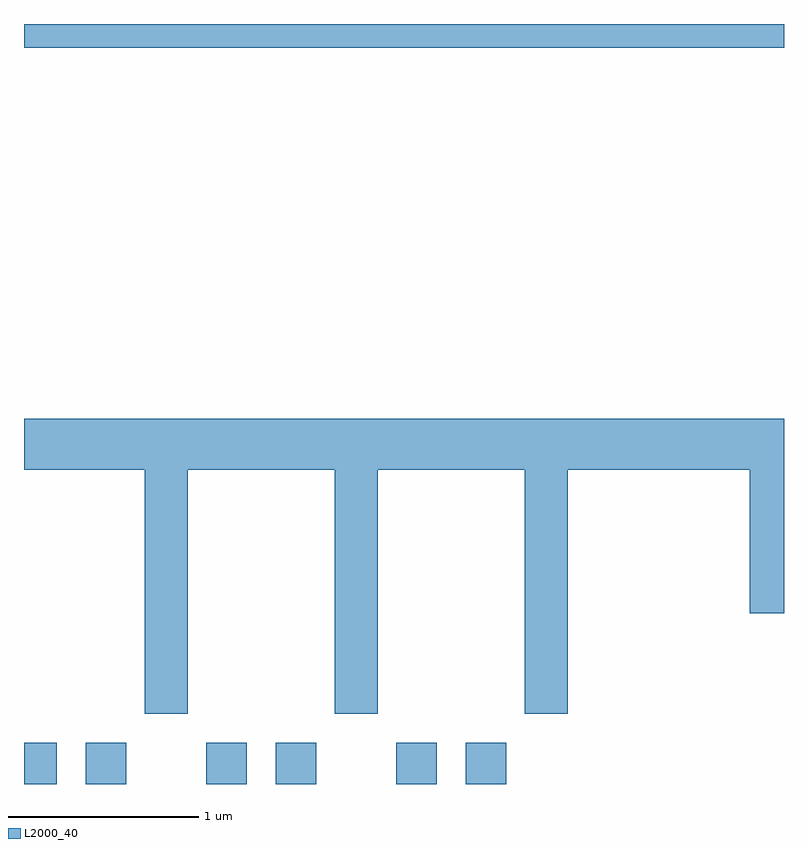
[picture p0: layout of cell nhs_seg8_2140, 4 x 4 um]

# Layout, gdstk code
import gdstk
lib = gdstk.Library(unit=1e-6, precision=1e-09)
def R(c, l, rs):  # rectangles x0, y0, x1, y1
    for r in rs: c.add(gdstk.rectangle(r[:2], r[2:], *l))
def P(c, l, *ps):  # polygons
    for p in ps: c.add(gdstk.Polygon(p, *l))
L2000_40 = (2000, 40)

nhs_seg8_2140 = lib.new_cell('nhs_seg8_2140')
R(nhs_seg8_2140, L2000_40, [(249.611,1810.342,249.784,1810.559), (249.936,1810.342,250.149,1810.559), (250.571,1810.342,250.784,1810.559), (250.936,1810.342,251.149,1810.559), (251.571,1810.342,251.784,1810.559), (251.936,1810.342,252.149,1810.559), (249.611,1814.216,253.611,1814.342)])
P(nhs_seg8_2140, L2000_40, [(250.474,1811.996),(251.246,1811.996),(251.246,1810.711),(251.474,1810.711),(251.474,1811.996),(252.246,1811.996),(252.246,1810.711),(252.474,1810.711),(252.474,1811.996),(253.431,1811.996),(253.431,1811.241),(253.611,1811.241),(253.611,1812.264),(249.611,1812.264),(249.611,1811.996),(250.246,1811.996),(250.246,1810.711),(250.474,1810.711)])

lib.write_gds('nhs_seg8_2140.gds')
